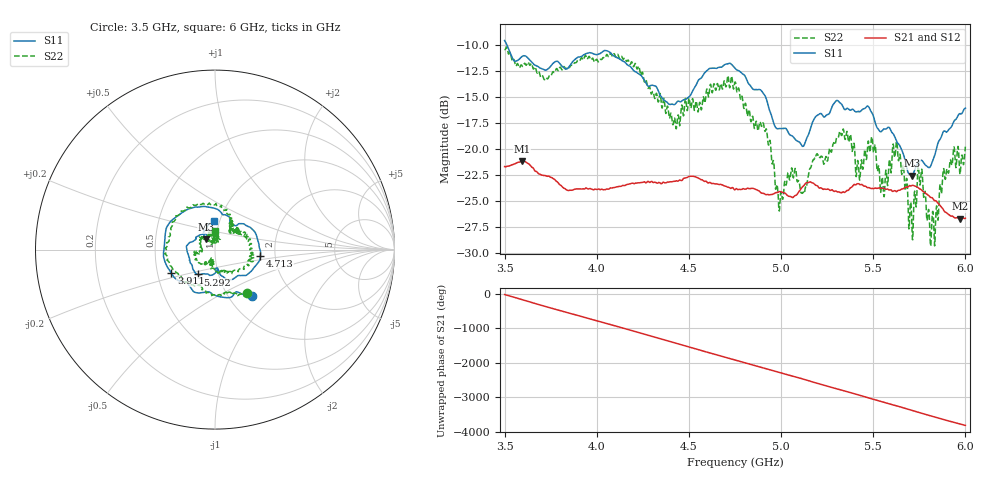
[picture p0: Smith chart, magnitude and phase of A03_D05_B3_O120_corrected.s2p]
! Created with skrf 1.9.0 (http://scikit-rf.org).
# Hz S RI R 50.0
!freq ReS11 ImS11 ReS21 ImS21 ReS12 ImS12 ReS22 ImS22
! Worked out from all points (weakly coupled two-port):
!   1601 points, 3.5 GHz to 6 GHz, reference 50 ohm
!   highest |S21| = -21.18 dB at 3.594 GHz (marker M1); lowest = -26.7 dB at 5.972 GHz (marker M2)
!   lowest |S11| = -22.6 dB at 5.709 GHz (marker M3), VSWR 1.16, Z = 45.1 + j5.14 ohm
!   |S11| at or under -10 dB: 3.512 GHz to end of sweep
!   |S22| runs from -29.3 to -10.2 dB; largest |S21 - S12| = 0.001
!   S11 on the Smith chart (normalised r, x): 3.5 GHz: 1.27, -0.74; 3.911 GHz: 0.59, -0.17; 4.713 GHz: 1.67, -0.13; 5.292 GHz: 0.80, -0.23; 6 GHz: 0.94, +0.30
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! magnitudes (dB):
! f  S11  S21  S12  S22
! 3.5 GHz  -9.6  -21.7  -21.7  -10.4
! 3.594 GHz  -11.1  -21.2  -21.2  -12.0
! 3.911 GHz  -11.2  -23.8  -23.8  -11.5
! 3.917 GHz  -11.1  -23.9  -23.8  -11.3
! 4.144 GHz  -11.6  -23.5  -23.5  -11.4
! 4.334 GHz  -14.5  -23.2  -23.2  -15.5
! 4.423 GHz  -15.7  -23.1  -23.1  -17.1
! 4.713 GHz  -11.8  -23.7  -23.7  -13.0
! 4.75 GHz  -12.3  -23.9  -23.9  -13.6
! 4.912 GHz  -14.9  -24.3  -24.3  -18.3
! 4.997 GHz  -18.0  -24.1  -24.1  -24.4
! 5.117 GHz  -19.8  -23.6  -23.6  -24.3
! 5.167 GHz  -17.6  -23.3  -23.2  -21.4
! 5.292 GHz  -15.5  -24.1  -24.0  -19.6
! 5.584 GHz  -17.9  -23.9  -23.9  -21.7
! 5.634 GHz  -19.5  -24.0  -24.0  -20.8
! 5.709 GHz  -22.6  -23.5  -23.5  -27.2
! 5.753 GHz  -21.2  -23.9  -23.8  -23.5
! 5.822 GHz  -21.2  -24.7  -24.7  -26.0
! 5.889 GHz  -18.3  -26.1  -26.0  -22.8
! 5.972 GHz  -16.6  -26.7  -26.7  -22.3
! 6 GHz  -16.1  -26.7  -26.6  -19.8
